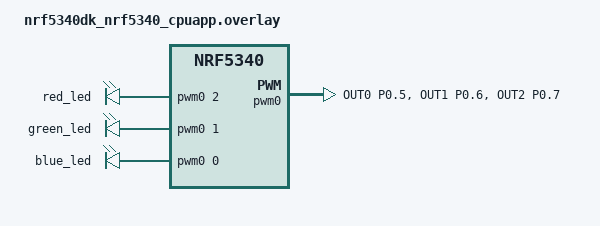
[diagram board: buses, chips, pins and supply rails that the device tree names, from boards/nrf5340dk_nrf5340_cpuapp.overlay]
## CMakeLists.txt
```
# SPDX-License-Identifier: Apache-2.0

cmake_minimum_required(VERSION 3.20.0)
find_package(Zephyr REQUIRED HINTS $ENV{ZEPHYR_BASE})

project(led_rgb)

file(GLOB app_sources
  src/main.c
  src/led/led.c
)

target_sources(app PRIVATE ${app_sources})
target_include_directories(app PRIVATE src)
```

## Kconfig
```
mainmenu "Lamb RGB Application"

config LAMB_RGB_LED
    bool "Enable Lamb Custom RGB LED logic"
    default n

source "Kconfig.zephyr"
```

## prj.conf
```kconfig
## RBG LED
CONFIG_LAMB_RGB_LED=y
CONFIG_PWM=y # Enable the underlying hardware PWM driver (leaving this CONFIG_PWM=y the RGB led will stay white)
CONFIG_LED=y # Enable the generic LED API
CONFIG_LED_PWM=y # Enable the specific PWM-based LED driver

## Console logs
CONFIG_CONSOLE=y
CONFIG_PRINTK=y
CONFIG_UART_CONSOLE=y
```

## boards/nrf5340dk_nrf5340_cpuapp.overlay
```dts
/ {
	pwmleds: pwmleds {
	    compatible = "pwm-leds";
	    red_led: led_red {
		pwms = <&pwm0 2 PWM_USEC(1000) PWM_POLARITY_INVERTED>;
	    };
	    green_led: led_green {
		pwms = <&pwm0 1 PWM_USEC(1000) PWM_POLARITY_INVERTED>;
	    };
	    blue_led: led_blue {
		pwms = <&pwm0 0 PWM_USEC(1000) PWM_POLARITY_INVERTED>;
	    };
	};
    };

    &pwm0 {
	status = "okay";
	pinctrl-0 = <&pwm0_custom>;
	pinctrl-1 = <&pwm0_csleep>;
	pinctrl-names = "default", "sleep";
    };

    &pinctrl {
	pwm0_custom: pwm0_custom {
	    group1 {
		psels = <NRF_PSEL(PWM_OUT0, 0, 5)>,
			<NRF_PSEL(PWM_OUT1, 0, 6)>,
			<NRF_PSEL(PWM_OUT2, 0, 7)>;
	    };
	};

	pwm0_csleep: pwm0_csleep {
	    group1 {
		psels = <NRF_PSEL(PWM_OUT0, 0, 5)>,
			<NRF_PSEL(PWM_OUT1, 0, 6)>,
			<NRF_PSEL(PWM_OUT2, 0, 7)>;
		low-power-enable;
	    };
	};
    };
```

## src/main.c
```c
#include <zephyr/kernel.h>
#include <zephyr/logging/log.h>

LOG_MODULE_REGISTER(main, 3);

#ifdef CONFIG_LAMB_RGB_LED
    #include "led/led.h"

    void led_fade_test()
    {
        const int steps = 50;
        const int delay_ms = 10;
        const led_color_t led = LED_BLUE;

        // smooth green fade in/out
        for (int cycle = 0; cycle < 4; cycle++) {
            // Fade in: ease-in-out
            for (int i = 0; i <= steps; i++) {
                float t = (float) i / steps;
                // Ease-in-out quadratic
                float eased = t < 0.5f ? 2.0f * t * t : 1.0f - 2.0f * (1.0f - t) * (1.0f - t);
                uint8_t level = (uint8_t) (eased * 50.0f);
                led_fade_control(led, level);
                k_msleep(delay_ms);
            }
    
            // Fade out: ease-in-out
            for (int i = 0; i <= steps; i++) {
                float t = (float) i / steps;
                float eased = t < 0.5f ? 2.0f * t * t : 1.0f - 2.0f * (1.0f - t) * (1.0f - t);
                uint8_t level = (uint8_t) ((1.0f - eased) * 70.0f);
                led_fade_control(led, level);
                k_msleep(delay_ms);
            }
        }
        k_msleep(10);
        set_led_off();
        k_msleep(10);

    }
#endif 

int main(void)
{

    printk("Starting Program...\n");

#ifdef CONFIG_LAMB_RGB_LED
    int ret;

    ret = led_start();
    if (ret){
        LOG_ERR("Failed to initialize LEDs");
        return ret;
    }

    led_fade_test();

    k_msleep(2000);

    set_led_custom(255,255,0);

    k_msleep(2000);

    while (led_self_loop) {
        printk("RED LED\n");
        set_led_red();   /* Red */
        k_msleep(1000);
        
        printk("BLUE LED\n");
        set_led_blue();
        k_msleep(1000);
        
        printk("GREEN LED\n");
        set_led_green();
        k_msleep(1000);

        printk("OFF LED\n");
        set_led_off();
        k_msleep(1000);
    }
#else
    LOG_WRN("Lamb RGB LED is disabled.");
#endif

    return 0;
}
```
